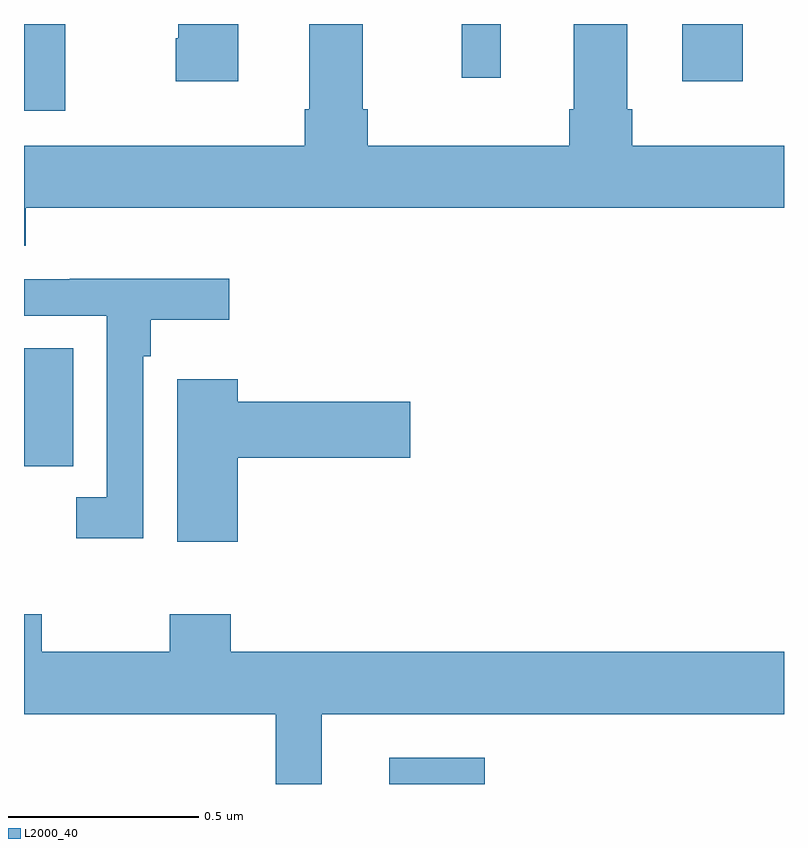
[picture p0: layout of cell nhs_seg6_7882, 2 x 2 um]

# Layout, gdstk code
import gdstk
lib = gdstk.Library(unit=1e-6, precision=1e-09)
def R(c, l, rs):  # rectangles x0, y0, x1, y1
    for r in rs: c.add(gdstk.rectangle(r[:2], r[2:], *l))
def P(c, l, *ps):  # polygons
    for p in ps: c.add(gdstk.Polygon(p, *l))
L2000_40 = (2000, 40)

nhs_seg6_7882 = lib.new_cell('nhs_seg6_7882')
R(nhs_seg6_7882, L2000_40, [(214.961,932.5,215.212,932.569), (214,933.336,214.129,933.647), (214,934.272,214.108,934.5), (215.732,934.35,215.891,934.5), (215.152,934.359,215.255,934.5)])
P(nhs_seg6_7882, L2000_40, [(214.004,934.016),(216,934.016),(216,934.18),(215.6,934.18),(215.6,934.276),(215.587,934.276),(215.587,934.5),(215.447,934.5),(215.447,934.276),(215.435,934.276),(215.435,934.18),(214.904,934.18),(214.904,934.276),(214.891,934.276),(214.891,934.5),(214.751,934.5),(214.751,934.276),(214.739,934.276),(214.739,934.18),(214,934.18),(214,933.917),(214.004,933.917)],
  [(214.564,934.5),(214.406,934.5),(214.406,934.462),(214.399,934.462),(214.399,934.35),(214.564,934.35)],
  [(214.314,933.626),(214.334,933.626),(214.334,933.722),(214.54,933.722),(214.54,933.83),(214.121,933.83),(214.121,933.828),(214,933.828),(214,933.732),(214.218,933.732),(214.218,933.255),(214.137,933.255),(214.137,933.147),(214.314,933.147)],
  [(214.562,933.359),(215.017,933.359),(215.017,933.506),(214.562,933.506),(214.562,933.565),(214.403,933.565),(214.403,933.138),(214.562,933.138)],
  [(214.783,932.684),(216,932.684),(216,932.848),(214.544,932.848),(214.544,932.947),(214.384,932.947),(214.384,932.848),(214.047,932.848),(214.047,932.947),(214,932.947),(214,932.684),(214.662,932.684),(214.662,932.5),(214.783,932.5)])

lib.write_gds('nhs_seg6_7882.gds')
